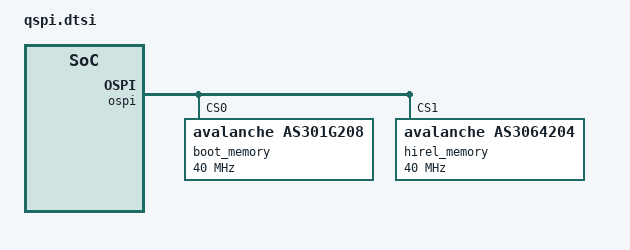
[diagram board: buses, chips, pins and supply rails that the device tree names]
&ospi {
	/delete-property/ is-stacked;
	/delete-property/ is-dual;
	xlnx,connection-mode = <0>;
	xlnx,qspi-mode = <0>;

	boot_memory: flash@0 {
		#address-cells = <1>;
		#size-cells = <1>;
		compatible = "avalanche,as301g208", "jedec,spi-nor";
		reg = <0>;
		spi-tx-bus-width = <1>;
		spi-rx-bus-width = <4>;
		spi-max-frequency = <40000000>;
	};

	hirel_memory: flash@1 {
		#address-cells = <1>;
		#size-cells = <1>;
		compatible = "avalanche,as3064204", "jedec,spi-nor";
		reg = <1>;
		spi-tx-bus-width = <1>;
		spi-rx-bus-width = <4>;
		spi-max-frequency = <40000000>;
	};
};
